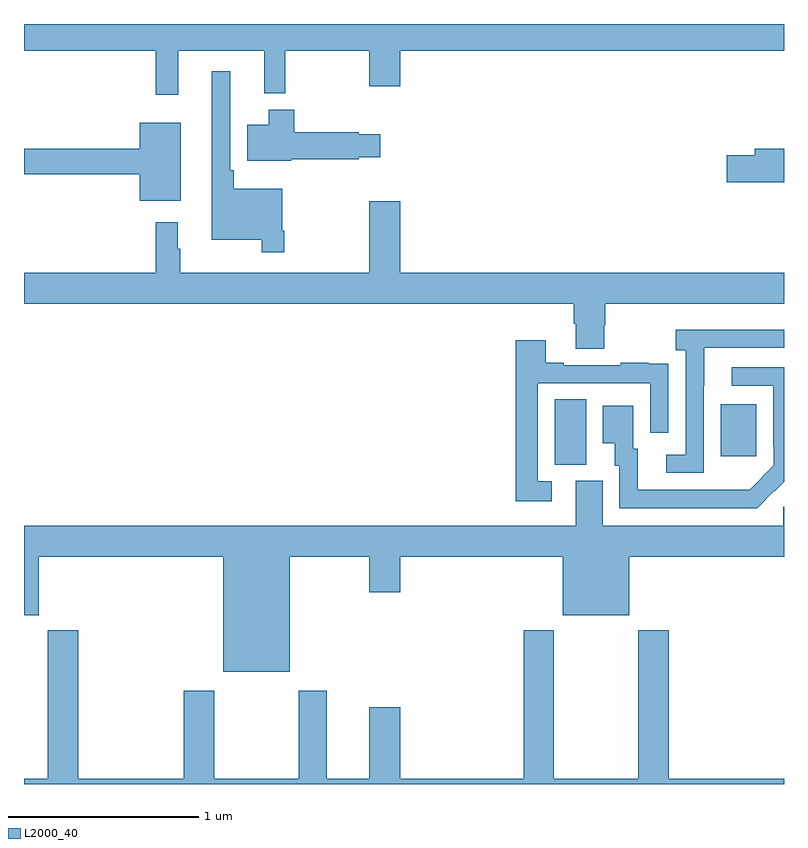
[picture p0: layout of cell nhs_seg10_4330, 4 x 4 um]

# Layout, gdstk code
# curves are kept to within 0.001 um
import gdstk
lib = gdstk.Library(unit=1e-6, precision=1e-09)
def R(c, l, rs):  # rectangles x0, y0, x1, y1
    for r in rs: c.add(gdstk.rectangle(r[:2], r[2:], *l))
def P(c, l, *ps):  # polygons
    for p in ps: c.add(gdstk.Polygon(p, *l))
L2000_40 = (2000, 40)

nhs_seg10_4330 = lib.new_cell('nhs_seg10_4330')
R(nhs_seg10_4330, L2000_40, [(357.794,1254.181,357.958,1254.524), (358.667,1254.225,358.855,1254.499)])
P(nhs_seg10_4330, L2000_40, [(355,1256.36),(355.693,1256.36),(355.693,1256.127),(355.811,1256.127),(355.811,1256.36),(356.264,1256.36),(356.264,1256.135),(356.374,1256.135),(356.374,1256.36),(356.816,1256.36),(356.816,1256.172),(356.98,1256.172),(356.98,1256.36),(359,1256.36),(359,1256.5),(355,1256.5)],
  [(356.371,1255.411),(356.358,1255.411),(356.358,1255.633),(356.105,1255.633),(356.105,1255.729),(356.085,1255.729),(356.085,1256.251),(355.988,1256.251),(355.988,1255.364),(356.25,1255.364),(356.25,1255.299),(356.371,1255.299)],
  [(356.406,1255.787),(356.762,1255.787),(356.762,1255.799),(356.875,1255.799),(356.875,1255.921),(356.762,1255.921),(356.762,1255.929),(356.423,1255.929),(356.423,1256.05),(356.288,1256.05),(356.288,1255.969),(356.174,1255.969),(356.174,1255.781),(356.406,1255.781)],
  [(355.825,1255.981),(355.61,1255.981),(355.61,1255.844),(355,1255.844),(355,1255.708),(355.61,1255.708),(355.61,1255.571),(355.825,1255.571)],
  [(359,1255.844),(358.847,1255.844),(358.847,1255.808),(358.698,1255.808),(358.698,1255.666),(359,1255.666)],
  [(355.693,1255.456),(355.693,1255.192),(355,1255.192),(355,1255.028),(357.893,1255.028),(357.893,1254.922),(357.905,1254.922),(357.905,1254.79),(358.053,1254.79),(358.053,1254.915),(358.058,1254.915),(358.058,1255.028),(359,1255.028),(359,1255.192),(356.98,1255.192),(356.98,1255.567),(356.816,1255.567),(356.816,1255.192),(355.822,1255.192),(355.822,1255.316),(355.81,1255.316),(355.81,1255.456)],
  [(358.578,1254.595),(358.579,1254.595),(358.579,1254.795),(359,1254.795),(359,1254.892),(358.431,1254.892),(358.431,1254.782),(358.482,1254.782),(358.482,1254.234),(358.38,1254.234),(358.38,1254.138),(358.578,1254.138)],
  [(357.778,1254.093),(357.705,1254.093),(357.705,1254.609),(358.296,1254.609),(358.296,1254.348),(358.392,1254.348),(358.392,1254.602),(358.391,1254.602),(358.391,1254.711),(358.289,1254.711),(358.289,1254.718),(358.141,1254.718),(358.141,1254.705),(357.841,1254.705),(357.841,1254.718),(357.745,1254.718),(357.745,1254.835),(357.589,1254.835),(357.589,1253.988),(357.778,1253.988)],
  [(358.949,1254.043),(358.95,1254.042),(359,1254.092),(359,1254.693),(358.725,1254.693),(358.725,1254.597),(358.944,1254.597),(358.944,1254.277),(358.947,1254.277),(358.947,1254.177),(358.819,1254.049),(358.231,1254.048),(358.231,1254.264),(358.207,1254.264),(358.207,1254.49),(358.046,1254.49),(358.046,1254.293),(358.109,1254.293),(358.109,1254.174),(358.134,1254.174),(358.134,1253.952),(358.858,1253.952)],
  [(356.398,1253.696),(356.816,1253.696),(356.816,1253.508),(356.98,1253.508),(356.98,1253.696),(357.836,1253.696),(357.836,1253.387),(358.186,1253.387),(358.186,1253.696),(359,1253.696),(359,1253.958),(358.995,1253.958),(358.995,1253.86),(358.045,1253.86),(358.045,1254.096),(357.905,1254.096),(357.905,1253.86),(355,1253.86),(355,1253.387),(355.078,1253.387),(355.078,1253.696),(356.048,1253.696),(356.048,1253.09),(356.398,1253.09)],
  [(359,1252.528),(358.394,1252.528),(358.394,1253.308),(358.234,1253.308),(358.234,1252.528),(357.789,1252.528),(357.789,1253.308),(357.629,1253.308),(357.629,1252.528),(356.98,1252.528),(356.98,1252.903),(356.816,1252.903),(356.816,1252.528),(356.593,1252.528),(356.593,1252.99),(356.446,1252.99),(356.446,1252.528),(356.001,1252.528),(356.001,1252.99),(355.841,1252.99),(355.841,1252.528),(355.286,1252.528),(355.286,1253.308),(355.126,1253.308),(355.126,1252.528),(355,1252.528),(355,1252.5),(359,1252.5)])

lib.write_gds('nhs_seg10_4330.gds')
